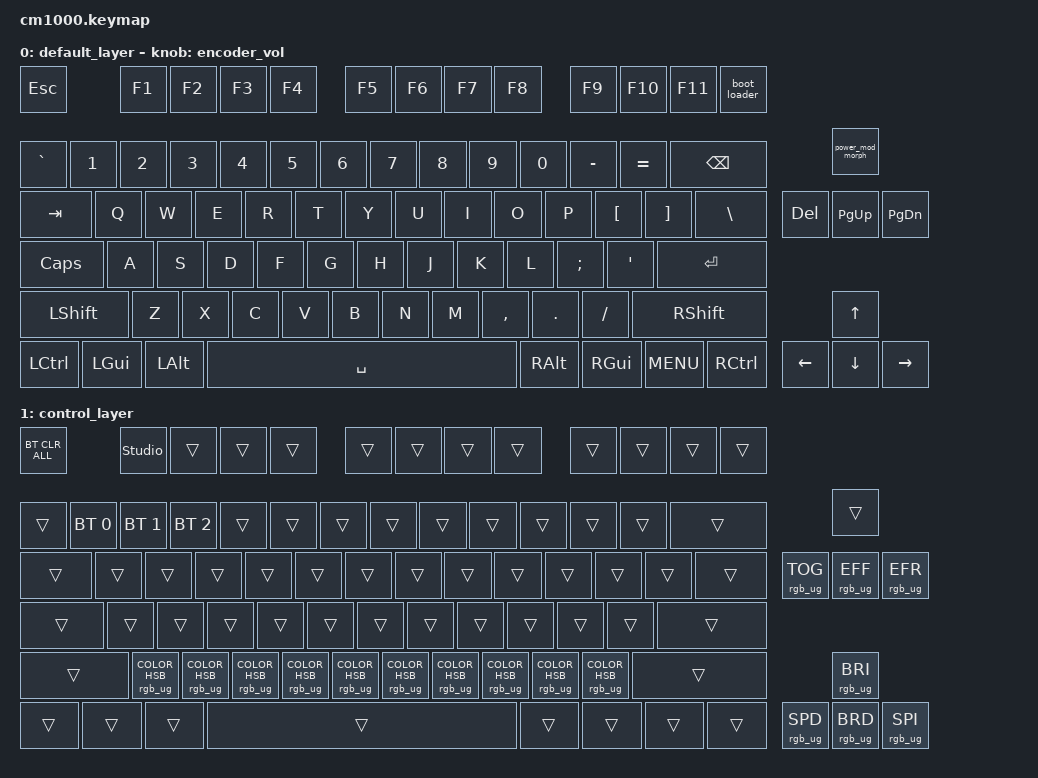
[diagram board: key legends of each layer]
/*
 * CM1000 Keymap Overlay
 * Modern ZMK keymap overlay format
 */

#include <behaviors.dtsi>
#include <dt-bindings/zmk/bt.h>
#include <dt-bindings/zmk/keys.h>
#include <dt-bindings/zmk/rgb.h>

/ {
    behaviors {
        encoder_vol: sensor_rotate_vol {
            compatible = "zmk,behavior-sensor-rotate";
            #sensor-binding-cells = <0>;
            bindings = <&kp C_VOL_DN>, <&kp C_VOL_UP>;
        };

        power_mod_morph: power_mod_morph {
            compatible = "zmk,behavior-mod-morph";
            label = "POWER_MOD_MORPH";
            bindings = <&tog 1>, <&soft_off>;

            #binding-cells = <0>;
            mods = <(MOD_LSFT|MOD_RSFT)>;
        };

        boot_loader: boot_loader {
            compatible = "zmk,behavior-tap-dance";
            label = "BOOT_LOADER";
            #binding-cells = <0>;
            tapping-term-ms = <1000>;
            bindings =
                <&kp F12>,
                <&kp F12>,
                <&kp F12>,
                <&kp F12>,
                <&bootloader>;
        };
    };

    keymap {
        compatible = "zmk,keymap";

        default_layer {
            bindings = <
&kp ESCAPE  &kp F1  &kp F2  &kp F3  &kp F4  &kp F5  &kp F6  &kp F7  &kp F8  &kp F9  &kp F10  &kp F11  &boot_loader  &power_mod_morph  &kp GRAVE  &kp N1  &kp N2  &kp N3  &kp N4  &kp N5  &kp N6  &kp N7  &kp N8  &kp N9  &kp N0  &kp MINUS  &kp EQUAL  &kp BSPC  &kp TAB  &kp Q  &kp W  &kp E  &kp R  &kp T  &kp Y  &kp U  &kp I  &kp O  &kp P  &kp LEFT_BRACKET  &kp RIGHT_BRACKET  &kp BACKSLASH  &kp DELETE  &kp PAGE_UP  &kp PAGE_DOWN  &kp CAPSLOCK  &kp A  &kp S  &kp D  &kp F  &kp G  &kp H  &kp J  &kp K  &kp L  &kp SEMICOLON  &kp SQT  &kp ENTER  &kp LSHFT  &kp Z  &kp X  &kp C  &kp V  &kp B  &kp N  &kp M  &kp COMMA  &kp DOT  &kp SLASH  &kp RIGHT_SHIFT  &kp UP_ARROW  &kp LEFT_CONTROL  &kp LEFT_GUI  &kp LEFT_ALT  &kp SPACE  &kp RIGHT_ALT  &kp RIGHT_GUI  &kp K_MENU  &kp RIGHT_CONTROL  &kp LEFT  &kp DOWN  &kp RIGHT
            >;

            sensor-bindings = <&encoder_vol>;
        };

        control_layer {
            bindings = <
&bt BT_CLR_ALL  &studio_unlock  &trans  &trans  &trans  &trans  &trans  &trans  &trans  &trans  &trans  &trans  &trans  &trans  &trans  &bt BT_SEL 0  &bt BT_SEL 1  &bt BT_SEL 2  &trans  &trans  &trans  &trans  &trans  &trans  &trans  &trans  &trans  &trans  &trans  &trans  &trans  &trans  &trans  &trans  &trans  &trans  &trans  &trans  &trans  &trans  &trans  &trans  &rgb_ug RGB_TOG  &rgb_ug RGB_EFF  &rgb_ug RGB_EFR  &trans  &trans  &trans  &trans  &trans  &trans  &trans  &trans  &trans  &trans  &trans  &trans  &trans  &trans  &rgb_ug RGB_COLOR_HSB(0,0,100)  &rgb_ug RGB_COLOR_HSB(0,100,50)  &rgb_ug RGB_COLOR_HSB(26,100,50)  &rgb_ug RGB_COLOR_HSB(62,100,50)  &rgb_ug RGB_COLOR_HSB(112,100,49)  &rgb_ug RGB_COLOR_HSB(211,100,50)  &rgb_ug RGB_COLOR_HSB(228,100,50)  &rgb_ug RGB_COLOR_HSB(291,100,50)  &rgb_ug RGB_COLOR_HSB(177,32,45)  &rgb_ug RGB_COLOR_HSB(177,34,22)  &trans  &rgb_ug RGB_BRI  &trans  &trans  &trans  &trans  &trans  &trans  &trans  &trans  &rgb_ug RGB_SPD  &rgb_ug RGB_BRD  &rgb_ug RGB_SPI
            >;
        };
    };
};
